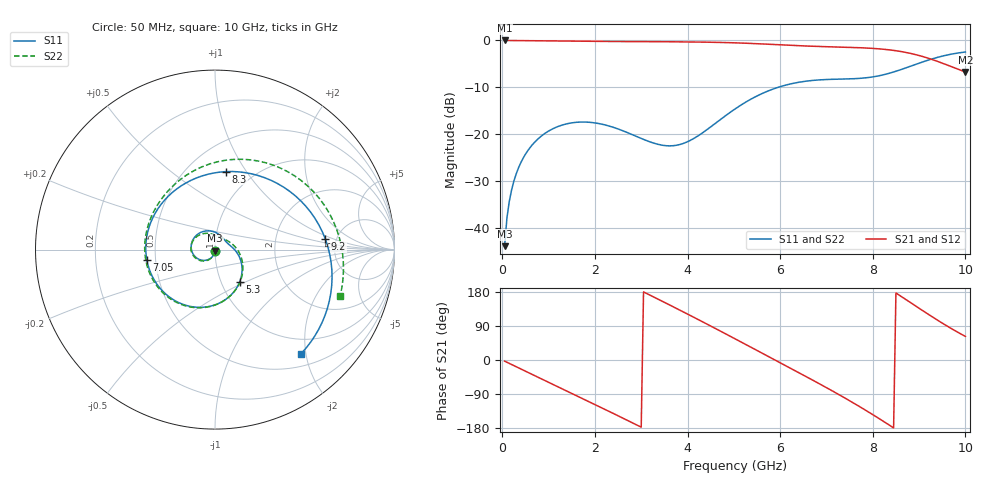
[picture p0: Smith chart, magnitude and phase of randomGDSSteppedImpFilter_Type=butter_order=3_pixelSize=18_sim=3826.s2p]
! freq	dB(S11)	phase(S11)	dB(S12)	phase(S12)
!  dB(S21)	phase(S21)	dB(S22)	phase(S22)
!S-par simulation data
#  GHz  S  DB  R 50
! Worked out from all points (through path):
!   200 points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, 50 MHz to 10 GHz, reference 50 ohm
!   highest |S21| = -0.01 dB at 50 MHz (marker M1); lowest = -6.7 dB at 10 GHz (marker M2)
!   group delay of S21, straight-line fit = 181 ps
!   lowest |S11| = -43.9 dB at 50 MHz (marker M3), VSWR 1.01, Z = 50 - j0.642 ohm
!   |S11| at or under -10 dB: start of sweep to 5.955 GHz
!   |S22| runs from -43.8 to -2.6 dB; largest |S21 - S12| = 0
!   S11 on the Smith chart (normalised r, x): 50 MHz: 1.00, -0.01; 5.3 GHz: 1.22, -0.46; 7.05 GHz: 0.45, -0.06; 8.3 GHz: 0.76, +0.81; 9.2 GHz: 4.07, +0.78; 10 GHz: 0.72, -1.91
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0.05  -43.85 -90.2  -0.01 -3.0  -0.01 -3.0  -43.85 -90.0
0.1  -37.86 -94.8  -0.01 -6.0  -0.01 -6.0  -37.86 -94.4
0.2  -31.89 -101.8  -0.02 -11.9  -0.02 -11.9  -31.89 -101.0
0.5  -24.25 -120.9  -0.06 -29.6  -0.06 -29.6  -24.25 -118.9
1.15  -18.56 -161.1  -0.14 -67.7  -0.14 -67.7  -18.56 -156.1
1.75  -17.39 161.8  -0.20 -102.8  -0.20 -102.8  -17.40 170.6
2.65  -19.44 103.5  -0.23 -156.2  -0.23 -156.2  -19.48 122.0
3.4  -22.23 53.4  -0.27 158.3  -0.27 158.3  -22.35 80.7
4.25  -20.19 6.9  -0.35 105.5  -0.35 105.5  -20.29 21.9
4.65  -17.30 -14.2  -0.41 80.1  -0.41 80.1  -17.36 -7.0
5.05  -14.45 -37.3  -0.52 54.4  -0.52 54.4  -14.48 -34.7
5.3  -12.90 -52.6  -0.61 38.2  -0.61 38.2  -12.92 -51.4
5.95  -10.02 -94.3  -0.91 -4.0  -0.91 -4.0  -10.01 -93.6
6.7  -8.53 -145.5  -1.24 -52.9  -1.24 -52.9  -8.47 -140.8
7.05  -8.31 -171.3  -1.35 -76.3  -1.35 -76.3  -8.23 -162.5
7.65  -8.13 139.9  -1.53 -118.3  -1.53 -118.3  -8.04 159.7
8.3  -7.15 81.9  -1.95 -167.3  -1.95 -167.3  -7.19 115.3
8.35  -7.02 77.4  -2.00 -171.2  -2.00 -171.2  -7.07 111.6
8.75  -5.73 42.3  -2.63 156.8  -2.63 156.8  -5.87 80.2
9.2  -4.19 5.5  -3.80 120.5  -3.80 120.5  -4.36 42.6
9.6  -3.12 -24.1  -5.22 89.9  -5.22 89.9  -3.27 9.8
10  -2.47 -50.3  -6.71 62.3  -6.71 62.3  -2.57 -20.2
